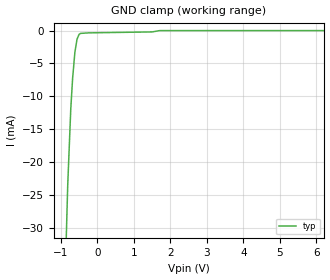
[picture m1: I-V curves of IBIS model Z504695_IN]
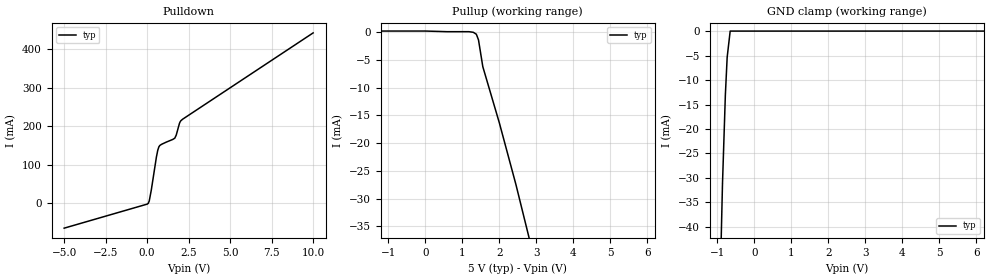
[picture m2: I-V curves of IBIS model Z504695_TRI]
| YOU ARE ONLY AUTHORIZED TO USE THIS SOFTWARE
| ACCORDING TO LICENSOR'S LICENSE RESTRICTIONS.
[IBIS Ver] 3.1
[File Name] sn74ls538dw.ibs
[File Rev] 2.0
[Source] Measured and created by ICX Technology
[Date] Friday 7/14/00 9:08:20 AM
[Copyright]
| (C) COPYRIGHT 1993-2000
| MENTOR GRAPHICS CORPORATION
| ICX STANDARD LIBRARY, ICX PROJECT MODELING,
| ICX CUSTOM MODELING, ICX VENDOR MODEL
| ALL RIGHTS RESERVED.
| THE FOLLOWING ARE TRADEMARKS OR SERVICE MARKS OF
| MENTOR GRAPHICS CORPORATION:ICX (R), ICX STANDARD
| LIBRARY(R), ICX PROJECT MODELING(R), ICX CUSTOM
| MODELING(R), qualityIBIS(TM), MODELVIEWER(TM),
| AND MODELEDITOR(TM)
| ALL COPIES OF SOFTWARE, INCLUDING BUT NOT LIMITED TO
| ANY MODIFICATIONS, ENHANCEMENTS OR DERIVATIVE WORKS,
| MUST CONTAIN ALL MENTOR GRAPHICS CORPORATION'S
| NOTICES AND LEGENDS, INCLUDING THOSE EMBEDDED IN
| SOFTWARE AND THOSE AFFIXED TO SOFTWARE MEDIUM
| AND CONTAINER, AS RECEIVED FROM MENTOR GRAPHICS
| CORPORATION.
|  ZAP Model Builder 2.7
[Component] SN74LS538DW
[Manufacturer] OnSemiconductor
[Package]
| variable   typ   min   max
R_pkg  .216ohms NA NA
L_pkg  5.76nH NA NA
C_pkg  1.29pF NA NA
[Pin] signal_name  model_name  R_pin  L_pin C_pin
1 Y2 Z504695_TRI .232 9.76n 1.87p
2 Y1 Z504695_TRI .224 7.26n 1.58p
3 Y0 Z504695_TRI .216 5.26n 1.29p
4 _EN1 Z504695_IN .208 3.76n 1.0p
5 _EN2 Z504695_IN .2 2.76n .71p
6 A0 Z504695_IN .2 2.76n .71p
7 A1 Z504695_IN .208 3.76n 1.0p
8 Y5 Z504695_TRI .216 5.26n 1.29p
9 Y6 Z504695_TRI .224 7.26n 1.58p
10 GND GND .232 9.76n 1.87p
11 Y7 Z504695_TRI .232 9.76n 1.87p
12 AL Z504695_IN .224 7.26n 1.58p
13 G0 Z504695_IN .216 5.26n 1.29p
14 G1 Z504695_IN .208 3.76n 1.0p
15 _G4 Z504695_IN .2 2.76n .71p
16 _G3 Z504695_IN .2 2.76n .71p
17 A2 Z504695_IN .208 3.76n 1.0p
18 Y4 Z504695_TRI .216 5.26n 1.29p
19 Y3 Z504695_TRI .224 7.26n 1.58p
20 VCC POWER .232 9.76n 1.87p
| Models and submodels in the file (2): Z504695_IN (Input), Z504695_TRI (3-state)
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| (C) COPYRIGHT 1993-2000
| MENTOR GRAPHICS CORPORATION
| ICX STANDARD LIBRARY, ICX PROJECT MODELING,
| ICX CUSTOM MODELING, ICX VENDOR MODEL
| ALL RIGHTS RESERVED.
| THE FOLLOWING ARE TRADEMARKS OR SERVICE MARKS OF
| MENTOR GRAPHICS CORPORATION:ICX (R), ICX STANDARD
| LIBRARY(R), ICX PROJECT MODELING(R), ICX CUSTOM
| MODELING(R), qualityIBIS(TM), MODELVIEWER(TM),
| AND MODELEDITOR(TM)
| ALL COPIES OF SOFTWARE, INCLUDING BUT NOT LIMITED TO
| ANY MODIFICATIONS, ENHANCEMENTS OR DERIVATIVE WORKS,
| MUST CONTAIN ALL MENTOR GRAPHICS CORPORATION'S
| NOTICES AND LEGENDS, INCLUDING THOSE EMBEDDED IN
| SOFTWARE AND THOSE AFFIXED TO SOFTWARE MEDIUM
| AND CONTAINER, AS RECEIVED FROM MENTOR GRAPHICS
| CORPORATION.
| Model Application Version 1.89 2/18/99.
[Model] Z504695_IN
Model_type Input
Vinl = 800.0mV
Vinh = 2.000V
C_comp 4.000pF NA NA
| variable typ   min   max
[Voltage Range] 5.000V NA NA
[GND Clamp Reference] 0.000V NA NA
[POWER Clamp Reference] 5.000V NA NA
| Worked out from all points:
|   GND clamp passes 1 mA (typ) near -0.53 V on its own axis
[GND Clamp]
-5V       -857.2mA   NA         NA
-810.5mV  -23.38mA   NA         NA
-727.4mV  -11.87mA   NA         NA
-676.6mV  -7.203mA   NA         NA
-615mV    -3.297mA   NA         NA
-556.6mV  -1.308mA   NA         NA
-500.5mV  -581.5uA   NA         NA
-463.2mV  -427.1uA   NA         NA
-231.6mV  -345.7uA   NA         NA
1.505V    -202.3uA   NA         NA
1.704V    -1.228uA   NA         NA
10V       1.462uA    NA         NA
[POWER Clamp]
-5V       0A         NA         NA
10V       0A         NA         NA
| (C) COPYRIGHT 1993-2000
| MENTOR GRAPHICS CORPORATION
| ICX STANDARD LIBRARY, ICX PROJECT MODELING,
| ICX CUSTOM MODELING, ICX VENDOR MODEL
| ALL RIGHTS RESERVED.
| THE FOLLOWING ARE TRADEMARKS OR SERVICE MARKS OF
| MENTOR GRAPHICS CORPORATION:ICX (R), ICX STANDARD
| LIBRARY(R), ICX PROJECT MODELING(R), ICX CUSTOM
| MODELING(R), qualityIBIS(TM), MODELVIEWER(TM),
| AND MODELEDITOR(TM)
| ALL COPIES OF SOFTWARE, INCLUDING BUT NOT LIMITED TO
| ANY MODIFICATIONS, ENHANCEMENTS OR DERIVATIVE WORKS,
| MUST CONTAIN ALL MENTOR GRAPHICS CORPORATION'S
| NOTICES AND LEGENDS, INCLUDING THOSE EMBEDDED IN
| SOFTWARE AND THOSE AFFIXED TO SOFTWARE MEDIUM
| AND CONTAINER, AS RECEIVED FROM MENTOR GRAPHICS
| CORPORATION.
| Model Application Version 1.89 2/18/99.
[Model] Z504695_TRI
Model_type 3-state
Vref=588.0mV
Rref=588.5ohms
Cref=45.00pF
Vmeas=1.300V
C_comp 8.000pF NA NA
| variable typ   min   max
[Voltage Range] 5.000V NA NA
[POWER Clamp Reference] 5.000V NA NA
[Pullup Reference] 5.000V NA NA
[Pulldown Reference] 0.000V NA NA
[GND Clamp Reference] 0.000V NA NA
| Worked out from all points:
|   slope of the pulldown table from 0 to 0.75 V, typ, clamps not added: 4.95 ohm
|   slope of the pullup table from 0 to 0.75 V, typ, clamps not added: 6.51 kohm
|   GND clamp passes 1 mA (typ) near -0.67 V on its own axis
[GND Clamp]
-5V       -1.362A    NA         NA
-859mV    -31.25mA   NA         NA
-781.1mV  -13.04mA   NA         NA
-732.4mV  -5.347mA   NA         NA
-651mV    0A         NA         NA
10V       0A         NA         NA
[Pulldown]
-5V       -64.64mA   NA         NA
10.68mV   -2.145mA   NA         NA
126.8mV   6.007mA    NA         NA
251.2mV   34.52mA    NA         NA
556.7mV   119.6mA    NA         NA
639.6mV   137.5mA    NA         NA
708mV     146.5mA    NA         NA
1.665V    168.8mA    NA         NA
1.753V    176.9mA    NA         NA
1.939V    206.1mA    NA         NA
2.032V    214.2mA    NA         NA
10V       442mA      NA         NA
[Pullup]
-5V       191.5uA    NA         NA
5mV       191.5uA    NA         NA
593.5mV   76.29uA    NA         NA
1.182V    76.29uA    NA         NA
1.299V    -32.54uA   NA         NA
1.382V    -383.9uA   NA         NA
1.44V     -1.399mA   NA         NA
1.557V    -6.233mA   NA         NA
2.002V    -16.31mA   NA         NA
2.45V     -27.41mA   NA         NA
10V       -231mA     NA         NA
[POWER Clamp]
-5V       0A         NA         NA
10V       0A         NA         NA
[Ramp]
| variable typ min max
dV/dt_r 2.010/3.934n NA NA
dV/dt_f 2.010/947.5p NA NA
R_load = 500.0Ohms
